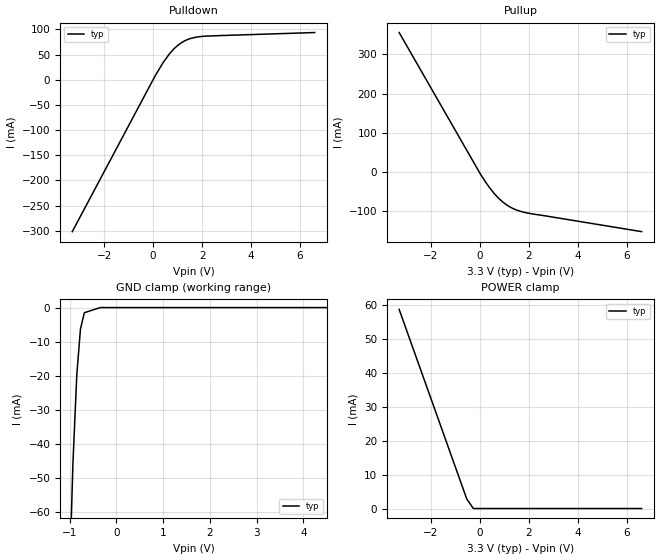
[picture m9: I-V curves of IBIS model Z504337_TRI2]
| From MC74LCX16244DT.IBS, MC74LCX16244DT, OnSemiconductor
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| (C) COPYRIGHT 1993-2000
| MENTOR GRAPHICS CORPORATION
| ICX STANDARD LIBRARY, ICX PROJECT MODELING,
| ICX CUSTOM MODELING, ICX VENDOR MODEL
| ALL RIGHTS RESERVED.
| THE FOLLOWING ARE TRADEMARKS OR SERVICE MARKS OF
| MENTOR GRAPHICS CORPORATION:ICX (R), ICX STANDARD
| LIBRARY(R), ICX PROJECT MODELING(R), ICX CUSTOM
| MODELING(R), qualityIBIS(TM), MODELVIEWER(TM),
| AND MODELEDITOR(TM)
| ALL COPIES OF SOFTWARE, INCLUDING BUT NOT LIMITED TO
| ANY MODIFICATIONS, ENHANCEMENTS OR DERIVATIVE WORKS,
| MUST CONTAIN ALL MENTOR GRAPHICS CORPORATION'S
| NOTICES AND LEGENDS, INCLUDING THOSE EMBEDDED IN
| SOFTWARE AND THOSE AFFIXED TO SOFTWARE MEDIUM
| AND CONTAINER, AS RECEIVED FROM MENTOR GRAPHICS
| CORPORATION.
| Model Application Version 1.89 2/18/99.
[Model] Z504337_TRI2
Model_type 3-state
Vref=0.000V
Rref=500.0ohms
Cref=50.00pF
Vmeas=1.500V
C_comp 8.000pF NA NA
| variable typ   min   max
[Voltage Range] 3.300V NA NA
[POWER Clamp Reference] 3.300V NA NA
[Pullup Reference] 3.300V NA NA
[Pulldown Reference] 0.000V NA NA
[GND Clamp Reference] 0.000V NA NA
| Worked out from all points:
|   slope of the pulldown table from 0 to 0.495 V, typ, clamps not added: 12.5 ohm
|   slope of the pullup table from 0 to 0.495 V, typ, clamps not added: 11.1 ohm
[GND Clamp]
-3.3V     -1.154A    NA         NA
-927.1mV  -45.89mA   NA         NA
-844.7mV  -19.86mA   NA         NA
-766.3mV  -6.328mA   NA         NA
-682.7mV  -1.507mA   NA         NA
-341.3mV  0A         NA         NA
6.6V      0A         NA         NA
[Pulldown]
-3.3V     -301.8mA   NA         NA
78.16mV   7.263mA    NA         NA
391.8mV   32.78mA    NA         NA
669mV     51.61mA    NA         NA
1.011V    68.37mA    NA         NA
1.416V    80.06mA    NA         NA
2.031V    86.23mA    NA         NA
6.6V      93.78mA    NA         NA
[Pullup]
-3.3V     355.6mA    NA         NA
14mV      -4.437mA   NA         NA
210mV     -23.67mA   NA         NA
595mV     -55.45mA   NA         NA
952mV     -77.15mA   NA         NA
1.337V    -92.38mA   NA         NA
1.923V    -103.9mA   NA         NA
6.6V      -151.5mA   NA         NA
[POWER Clamp]
-3.3V     58.68mA    NA         NA
-538mV    2.782mA    NA         NA
-269mV    0A         NA         NA
6.6V      0A         NA         NA
[Ramp]
| variable typ min max
dV/dt_r 1.960/240.0p NA NA
dV/dt_f 1.960/467.2p NA NA
R_load = 500.0Ohms
